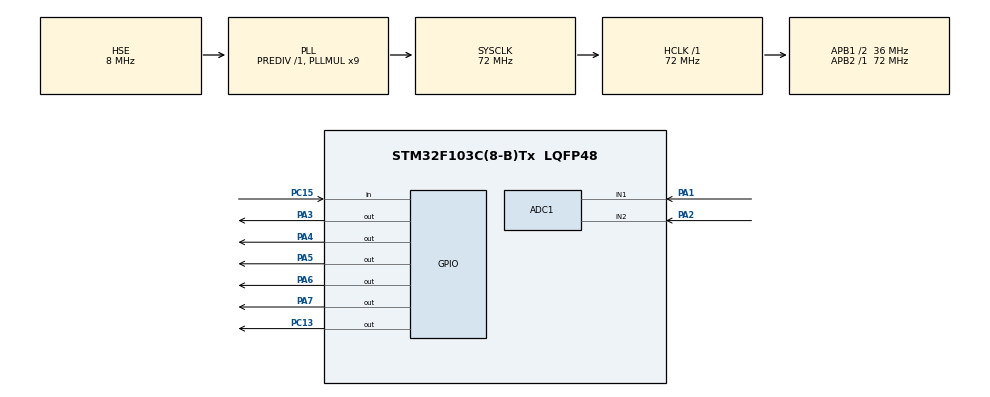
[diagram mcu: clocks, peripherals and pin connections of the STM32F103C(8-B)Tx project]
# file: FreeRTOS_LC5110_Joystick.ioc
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ADC1.Channel-5\#ChannelRegularConversion=ADC_CHANNEL_1
ADC1.Channel-6\#ChannelRegularConversion=ADC_CHANNEL_2
ADC1.ContinuousConvMode=ENABLE
ADC1.NbrOfConversion=2
ADC1.NbrOfConversionFlag=1
ADC1.Rank-5\#ChannelRegularConversion=1
ADC1.Rank-6\#ChannelRegularConversion=2
ADC1.SamplingTime-5\#ChannelRegularConversion=ADC_SAMPLETIME_239CYCLES_5
ADC1.SamplingTime-6\#ChannelRegularConversion=ADC_SAMPLETIME_239CYCLES_5
ADC1.master=1
Dma.ADC1.0.Direction=DMA_PERIPH_TO_MEMORY
Dma.ADC1.0.Instance=DMA1_Channel1
Dma.ADC1.0.MemDataAlignment=DMA_MDATAALIGN_WORD
Dma.ADC1.0.MemInc=DMA_MINC_ENABLE
Dma.ADC1.0.Mode=DMA_CIRCULAR
Dma.ADC1.0.PeriphDataAlignment=DMA_PDATAALIGN_WORD
Dma.ADC1.0.PeriphInc=DMA_PINC_DISABLE
Dma.ADC1.0.Priority=DMA_PRIORITY_LOW
Dma.Request0=ADC1
FREERTOS.Tasks01=defaultTask,0,128,StartDefaultTask,Default,NULL
FREERTOS.configMAX_TASK_NAME_LEN=30
Mcu.Family=STM32F1
Mcu.Name=STM32F103C(8-B)Tx
Mcu.Package=LQFP48
NVIC.ADC1_2_IRQn=true\:5\:0\:false\:false\:true\:true\:true
NVIC.DMA1_Channel1_IRQn=true\:5\:0\:false\:false\:true\:true\:false
NVIC.PriorityGroup=NVIC_PRIORITYGROUP_4
NVIC.TIM4_IRQn=true\:0\:0\:false\:false\:true\:false\:false
NVIC.TimeBase=TIM4_IRQn
NVIC.TimeBaseIP=TIM4
PA1.Signal=ADCx_IN1
PA13.Mode=Serial_Wire
PA13.Signal=SYS_JTMS-SWDIO
PA14.Mode=Serial_Wire
PA14.Signal=SYS_JTCK-SWCLK
PA2.Signal=ADCx_IN2
PA3.Signal=GPIO_Output
PA4.Signal=GPIO_Output
PA5.Signal=GPIO_Output
PA6.Signal=GPIO_Output
PA7.Signal=GPIO_Output
PC13-TAMPER-RTC.Signal=GPIO_Output
PC15-OSC32_OUT.GPIO_PuPd=GPIO_PULLUP
PC15-OSC32_OUT.Signal=GPIO_Input
PD0-OSC_IN.Mode=HSE-External-Oscillator
PD0-OSC_IN.Signal=RCC_OSC_IN
PD1-OSC_OUT.Mode=HSE-External-Oscillator
PD1-OSC_OUT.Signal=RCC_OSC_OUT
ProjectManager.HeapSize=0x200
ProjectManager.StackSize=0x400
ProjectManager.TargetToolchain=STM32CubeIDE
RCC.ADCPresc=RCC_ADCPCLK2_DIV6
RCC.AHBFreq_Value=72000000
RCC.APB1CLKDivider=RCC_HCLK_DIV2
RCC.APB1Freq_Value=36000000
RCC.APB1TimFreq_Value=72000000
RCC.APB2Freq_Value=72000000
RCC.APB2TimFreq_Value=72000000
RCC.HCLKFreq_Value=72000000
RCC.PLLMUL=RCC_PLL_MUL9
RCC.PLLSourceVirtual=RCC_PLLSOURCE_HSE
RCC.SYSCLKFreq_VALUE=72000000
RCC.SYSCLKSource=RCC_SYSCLKSOURCE_PLLCLK
RCC.USBFreq_Value=72000000
SH.ADCx_IN1.0=ADC1_IN1,IN1
SH.ADCx_IN2.0=ADC1_IN2,IN2
VP_FREERTOS_VS_ENABLE.Mode=Enabled
VP_SYS_VS_tim4.Mode=TIM4
board=FreeRTOS_LC5110_Joystick

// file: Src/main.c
#include "main.h"
#include "stm32f1xx_hal.h"
#include "cmsis_os.h"

/* USER CODE BEGIN Includes */
#include "atraso.h"
#include "defPrincipais.h"
#include "NOKIA5110_fb.h"
#include "figuras.h"
#include "PRNG_LFSR.h"

#include "game_config.h"

/* USER CODE END Includes */

ADC_HandleTypeDef hadc1;
DMA_HandleTypeDef hdma_adc1;

//osThreadId defaultTaskHandle;

/* USER CODE BEGIN PV */
/* Private variables ---------------------------------------------------------*/
uint32_t ADC_buffer[2];
uint32_t valor_ADC[2];
/* USER CODE END PV */

void SystemClock_Config(void);
static void MX_GPIO_Init(void);
static void MX_DMA_Init(void);
static void MX_ADC1_Init(void);
//void StartDefaultTask(void const * argument);

/* USER CODE BEGIN PFP */
/* Private function prototypes -----------------------------------------------*/
/* USER CODE END PFP */

/* USER CODE BEGIN 0 */

void HAL_ADC_ConvCpltCallback(ADC_HandleTypeDef *hadc)
{
	if(hadc->Instance == ADC1)
	{
		valor_ADC[0]=ADC_buffer[0];
		valor_ADC[1]=ADC_buffer[1];
	}
}

//---------------------------------------------------------------------------------------------------
// Tarefa para atualizar periodicamente o LCD
void vTask_LCD_Print(void *pvParameters)
{
	while(1) imprime_LCD();
}
//---------------------------------------------------------------------------------------------------
// Tarefa para imprimir um numero aleatorio
void vTask_Nr_Print(void *pvParameters)
{
	uint32_t rand_prng;

	struct pontos_t scenery;

	scenery.x1 = 0;
	scenery.y1 = 0;
	scenery.x2 = 83;
	scenery.y2 = 47;

	desenha_retangulo(&scenery,1);

	while(1)
	{
		rand_prng = prng_LFSR();
		//escreve_Nr_Peq(10,10, rand_prng, 10);
		//escreve_Nr_Peq(10,20, valor_ADC[0], 10);
		//escreve_Nr_Peq(10,30, valor_ADC[1], 10);
		//goto_XY(0,0);
		//string_LCD_Nr("Nr=", rand_prng, 10);			// escreve uma mensagem com um n�mero

		//desenha_pixel(40,23,1);
		//desenha_retangulo(&ai,3);
		//desenha_circulo(40,23,3,1);
		//desenha_triangulo(&monster,1);

		print_monster(20,20);

		print_AI(78,42);

		print_food(40,40);

		vTaskDelay(500);
	}
}
//---------------------------------------------------------------------------------------------------
/* USER CODE END 0 */

int main(void)
{
  /* USER CODE BEGIN 1 */
	uint32_t semente_PRNG=1;

  /* USER CODE END 1 */

  /* MCU Configuration----------------------------------------------------------*/

  /* Reset of all peripherals, Initializes the Flash interface and the Systick. */
  HAL_Init();

  /* Configure the system clock */
  SystemClock_Config();

	/* Initialize all configured peripherals */
	MX_GPIO_Init();
	MX_DMA_Init();
	MX_ADC1_Init();

	/* USER CODE BEGIN 2 */

	HAL_ADC_Start_DMA(&hadc1,(uint32_t*)ADC_buffer,2);
	HAL_ADC_Start_IT(&hadc1);

	// inicializa LCD 5110
	inic_LCD();
	limpa_LCD();

	// --------------------------------------------------------------------------------------
	// inicializa tela

	goto_XY(0, 0);
	string_LCD("BUGss.  Botao");
	imprime_LCD();

	//while(HAL_GPIO_ReadPin(GPIOC, GPIO_PIN_15)) // enquando nao pressionar joystick fica travado
	//{
	//	semente_PRNG++;		// semente para o gerador de n�meros pseudoaleatorios
							// pode ser empregado o ADC lendo uma entrada flutuante para gerar a semente.
	//}

	init_LFSR(semente_PRNG);	// inicializacao para geracao de numeros pseudoaleatorios
	//rand_prng = prng_LFSR();	// sempre q a funcao prng() for chamada um novo nr � gerado.

	limpa_LCD();
	escreve2fb((unsigned char *)dragon);
	imprime_LCD();
	HAL_Delay(1000);
	limpa_LCD();
	imprime_LCD();

	/* USER CODE END 2 */

	/* Create the thread(s) */
	/* definition and creation of defaultTask */
	// osThreadDef(defaultTask, StartDefaultTask, osPriorityNormal, 0, 128);
	// defaultTaskHandle = osThreadCreate(osThread(defaultTask), NULL);

	/* USER CODE BEGIN RTOS_THREADS */
	xTaskCreate(vTask_LCD_Print, "Task 1", 100, NULL, 1,NULL);
	xTaskCreate(vTask_Nr_Print, "Task 2", 100, NULL, 1,NULL);
	/* USER CODE END RTOS_THREADS */

	/* Start scheduler */
	// osKernelStart();
	vTaskStartScheduler();	// apos este comando o RTOS passa a executar as tarefas

  /* We should never get here as control is now taken by the scheduler */

  /* Infinite loop */
  while (1)
  {
  }

}

void SystemClock_Config(void)
{

  RCC_OscInitTypeDef RCC_OscInitStruct;
  RCC_ClkInitTypeDef RCC_ClkInitStruct;
  RCC_PeriphCLKInitTypeDef PeriphClkInit;

    /**Initializes the CPU, AHB and APB busses clocks
    */
  RCC_OscInitStruct.OscillatorType = RCC_OSCILLATORTYPE_HSE;
  RCC_OscInitStruct.HSEState = RCC_HSE_ON;
  RCC_OscInitStruct.HSEPredivValue = RCC_HSE_PREDIV_DIV1;
  RCC_OscInitStruct.HSIState = RCC_HSI_ON;
  RCC_OscInitStruct.PLL.PLLState = RCC_PLL_ON;
  RCC_OscInitStruct.PLL.PLLSource = RCC_PLLSOURCE_HSE;
  RCC_OscInitStruct.PLL.PLLMUL = RCC_PLL_MUL9;
  if (HAL_RCC_OscConfig(&RCC_OscInitStruct) != HAL_OK)
  {
    _Error_Handler(__FILE__, __LINE__);
  }

    /**Initializes the CPU, AHB and APB busses clocks
    */
  RCC_ClkInitStruct.ClockType = RCC_CLOCKTYPE_HCLK|RCC_CLOCKTYPE_SYSCLK
                              |RCC_CLOCKTYPE_PCLK1|RCC_CLOCKTYPE_PCLK2;
  RCC_ClkInitStruct.SYSCLKSource = RCC_SYSCLKSOURCE_PLLCLK;
  RCC_ClkInitStruct.AHBCLKDivider = RCC_SYSCLK_DIV1;
  RCC_ClkInitStruct.APB1CLKDivider = RCC_HCLK_DIV2;
  RCC_ClkInitStruct.APB2CLKDivider = RCC_HCLK_DIV1;

  if (HAL_RCC_ClockConfig(&RCC_ClkInitStruct, FLASH_LATENCY_2) != HAL_OK)
  {
    _Error_Handler(__FILE__, __LINE__);
  }

  PeriphClkInit.PeriphClockSelection = RCC_PERIPHCLK_ADC;
  PeriphClkInit.AdcClockSelection = RCC_ADCPCLK2_DIV6;
  if (HAL_RCCEx_PeriphCLKConfig(&PeriphClkInit) != HAL_OK)
  {
    _Error_Handler(__FILE__, __LINE__);
  }

    /**Configure the Systick interrupt time
    */
  HAL_SYSTICK_Config(HAL_RCC_GetHCLKFreq()/1000);

    /**Configure the Systick
    */
  HAL_SYSTICK_CLKSourceConfig(SYSTICK_CLKSOURCE_HCLK);

  /* SysTick_IRQn interrupt configuration */
  HAL_NVIC_SetPriority(SysTick_IRQn, 15, 0);
}

/* ADC1 init function */
static void MX_ADC1_Init(void)
{

  ADC_ChannelConfTypeDef sConfig;

    /**Common config
    */
  hadc1.Instance = ADC1;
  hadc1.Init.ScanConvMode = ADC_SCAN_ENABLE;
  hadc1.Init.ContinuousConvMode = ENABLE;
  hadc1.Init.DiscontinuousConvMode = DISABLE;
  hadc1.Init.ExternalTrigConv = ADC_SOFTWARE_START;
  hadc1.Init.DataAlign = ADC_DATAALIGN_RIGHT;
  hadc1.Init.NbrOfConversion = 2;
  if (HAL_ADC_Init(&hadc1) != HAL_OK)
  {
    _Error_Handler(__FILE__, __LINE__);
  }

    /**Configure Regular Channel
    */
  sConfig.Channel = ADC_CHANNEL_1;
  sConfig.Rank = ADC_REGULAR_RANK_1;
  sConfig.SamplingTime = ADC_SAMPLETIME_239CYCLES_5;
  if (HAL_ADC_ConfigChannel(&hadc1, &sConfig) != HAL_OK)
  {
    _Error_Handler(__FILE__, __LINE__);
  }

    /**Configure Regular Channel
    */
  sConfig.Channel = ADC_CHANNEL_2;
  sConfig.Rank = ADC_REGULAR_RANK_2;
  if (HAL_ADC_ConfigChannel(&hadc1, &sConfig) != HAL_OK)
  {
    _Error_Handler(__FILE__, __LINE__);
  }

}

static void MX_DMA_Init(void)
{
  /* DMA controller clock enable */
  __HAL_RCC_DMA1_CLK_ENABLE();

  /* DMA interrupt init */
  /* DMA1_Channel1_IRQn interrupt configuration */
  HAL_NVIC_SetPriority(DMA1_Channel1_IRQn, 5, 0);
  HAL_NVIC_EnableIRQ(DMA1_Channel1_IRQn);

}

/** Configure pins as
        * Analog
        * Input
        * Output
        * EVENT_OUT
        * EXTI
*/
static void MX_GPIO_Init(void)
{

  GPIO_InitTypeDef GPIO_InitStruct;

  /* GPIO Ports Clock Enable */
  __HAL_RCC_GPIOC_CLK_ENABLE();
  __HAL_RCC_GPIOD_CLK_ENABLE();
  __HAL_RCC_GPIOA_CLK_ENABLE();

  /*Configure GPIO pin Output Level */
  HAL_GPIO_WritePin(GPIOC, GPIO_PIN_13, GPIO_PIN_RESET);

  /*Configure GPIO pin Output Level */
  HAL_GPIO_WritePin(GPIOA, GPIO_PIN_3|GPIO_PIN_4|GPIO_PIN_5|GPIO_PIN_6
                          |GPIO_PIN_7, GPIO_PIN_RESET);

  /*Configure GPIO pin : PC13 */
  GPIO_InitStruct.Pin = GPIO_PIN_13;
  GPIO_InitStruct.Mode = GPIO_MODE_OUTPUT_PP;
  GPIO_InitStruct.Speed = GPIO_SPEED_FREQ_LOW;
  HAL_GPIO_Init(GPIOC, &GPIO_InitStruct);

  /*Configure GPIO pin : PC15 */
  GPIO_InitStruct.Pin = GPIO_PIN_15;
  GPIO_InitStruct.Mode = GPIO_MODE_INPUT;
  GPIO_InitStruct.Pull = GPIO_PULLUP;
  HAL_GPIO_Init(GPIOC, &GPIO_InitStruct);

  /*Configure GPIO pins : PA3 PA4 PA5 PA6
                           PA7 */
  GPIO_InitStruct.Pin = GPIO_PIN_3|GPIO_PIN_4|GPIO_PIN_5|GPIO_PIN_6
                          |GPIO_PIN_7;
  GPIO_InitStruct.Mode = GPIO_MODE_OUTPUT_PP;
  GPIO_InitStruct.Speed = GPIO_SPEED_FREQ_LOW;
  HAL_GPIO_Init(GPIOA, &GPIO_InitStruct);

}

/* StartDefaultTask function */
//void StartDefaultTask(void const * argument)
//{

  /* USER CODE BEGIN 5 */
  /* Infinite loop */
//  for(;;)
//  {
//    osDelay(1);
//  }
  /* USER CODE END 5 */
//}

void HAL_TIM_PeriodElapsedCallback(TIM_HandleTypeDef *htim)
{
  if (htim->Instance == TIM4) {
    HAL_IncTick();
  }
}

void _Error_Handler(char *file, int line)
{
  while(1)
  {
  }
}

/************************ (C) COPYRIGHT STMicroelectronics *****END OF FILE****/
